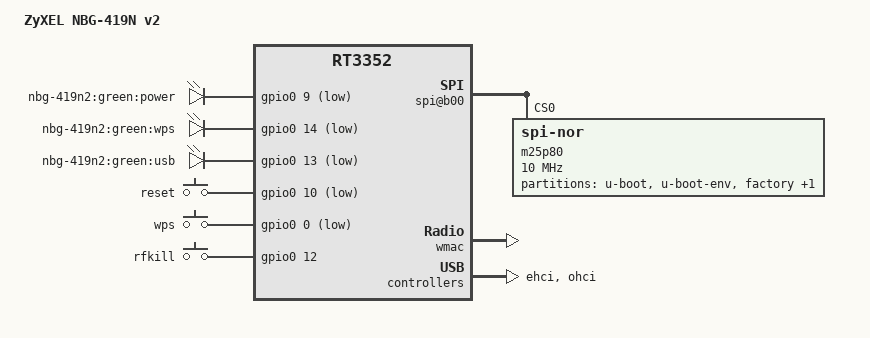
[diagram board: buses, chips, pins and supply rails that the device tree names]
/dts-v1/;

#include "rt3352.dtsi"

#include <dt-bindings/gpio/gpio.h>
#include <dt-bindings/input/input.h>

/ {
	compatible = "zyxel,nbg-419n-v2", "ralink,rt3352-soc";
	model = "ZyXEL NBG-419N v2";

	aliases {
		led-boot = &led_power;
		led-failsafe = &led_power;
		led-running = &led_power;
		led-upgrade = &led_power;
	};

	palmbus@10000000 {
		spi@b00 {
			status = "okay";
			m25p80@0 {
				compatible = "jedec,spi-nor";
				reg = <0 0>;
				spi-max-frequency = <10000000>;

				partitions {
					compatible = "fixed-partitions";
					#address-cells = <1>;
					#size-cells = <1>;

					partition@0 {
						label = "u-boot";
						reg = <0x0 0x30000>;
						read-only;
					};

					partition@30000 {
						label = "u-boot-env";
						reg = <0x30000 0x10000>;
						read-only;
					};

					factory: partition@40000 {
						label = "factory";
						reg = <0x40000 0x10000>;
						read-only;
					};

					partition@50000 {
						compatible = "denx,uimage";
						label = "firmware";
						reg = <0x50000 0x7b0000>;
					};
				};
			};
		};
	};

	gpio-leds {
		compatible = "gpio-leds";

		led_power: power {
			label = "nbg-419n2:green:power";
			gpios = <&gpio0 9 GPIO_ACTIVE_LOW>;
		};

		wps {
			label = "nbg-419n2:green:wps";
			gpios = <&gpio0 14 GPIO_ACTIVE_LOW>;
		};

		usb {
			label = "nbg-419n2:green:usb";
			gpios = <&gpio0 13 GPIO_ACTIVE_LOW>;
			trigger-sources = <&ohci_port1>, <&ehci_port1>;
			linux,default-trigger = "usbport";
		};
	};

	gpio-keys-polled {
		compatible = "gpio-keys-polled";
		poll-interval = <20>;
		reset {
			label = "reset";
			gpios = <&gpio0 10 GPIO_ACTIVE_LOW>;
			linux,code = <KEY_RESTART>;
		};
		wps {
			label = "wps";
			gpios = <&gpio0 0 GPIO_ACTIVE_LOW>;
			linux,code = <KEY_WPS_BUTTON>;
		};
		rfkill {
			label = "rfkill";
			linux,input-type = <EV_SW>;
			gpios = <&gpio0 12 GPIO_ACTIVE_HIGH>;
			linux,code = <KEY_RFKILL>;
		};
	};
};

&pinctrl {
	state_default: pinctrl0 {
		gpio {
			ralink,group = "i2c", "jtag", "rgmii", "mdio", "uartf";
			ralink,function = "gpio";
		};
	};
};

&ethernet {
	mtd-mac-address = <&factory 0x28>;
};

&esw {
	mediatek,portmap = <0x2f>;
};

&wmac {
	ralink,mtd-eeprom = <&factory 0>;
};

&ehci {
	status = "okay";
};

&ohci {
	status = "okay";
};
